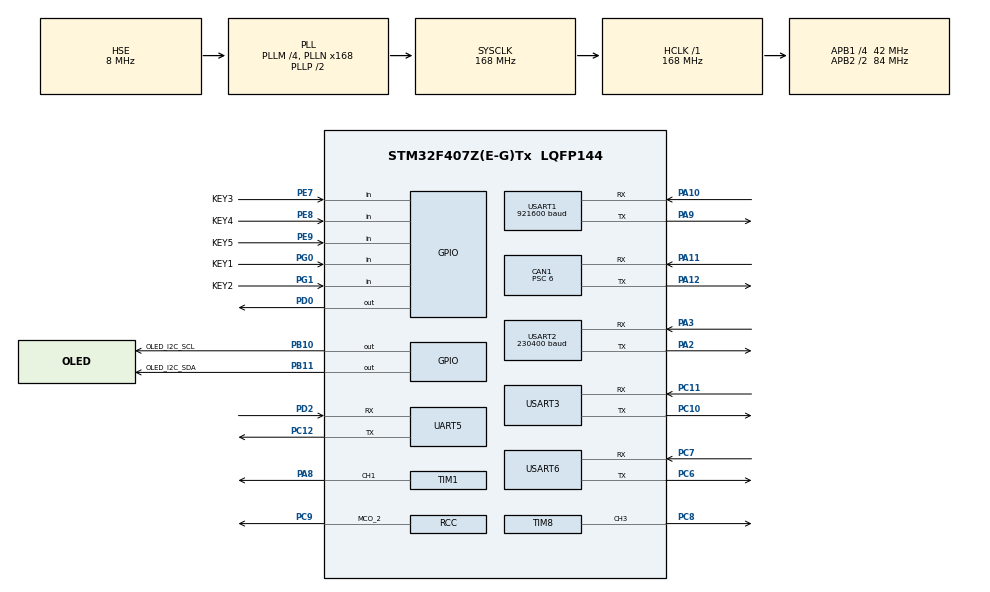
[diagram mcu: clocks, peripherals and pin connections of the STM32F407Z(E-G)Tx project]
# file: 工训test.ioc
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CAN1.BS1=CAN_BS1_3TQ
CAN1.BS2=CAN_BS2_3TQ
CAN1.CalculateBaudRate=1000000
CAN1.CalculateTimeBit=1000
CAN1.CalculateTimeQuantum=142.85714285714286
CAN1.Mode=CAN_MODE_NORMAL
CAN1.NART=ENABLE
CAN1.Prescaler=6
Dma.Request0=USART6_RX
Dma.Request1=USART1_RX
Dma.Request2=USART3_RX
Dma.Request3=USART2_RX
Dma.USART1_RX.1.Direction=DMA_PERIPH_TO_MEMORY
Dma.USART1_RX.1.FIFOMode=DMA_FIFOMODE_DISABLE
Dma.USART1_RX.1.Instance=DMA2_Stream5
Dma.USART1_RX.1.MemDataAlignment=DMA_MDATAALIGN_BYTE
Dma.USART1_RX.1.MemInc=DMA_MINC_ENABLE
Dma.USART1_RX.1.Mode=DMA_NORMAL
Dma.USART1_RX.1.PeriphDataAlignment=DMA_PDATAALIGN_BYTE
Dma.USART1_RX.1.PeriphInc=DMA_PINC_DISABLE
Dma.USART1_RX.1.Priority=DMA_PRIORITY_VERY_HIGH
Dma.USART2_RX.3.Direction=DMA_PERIPH_TO_MEMORY
Dma.USART2_RX.3.FIFOMode=DMA_FIFOMODE_DISABLE
Dma.USART2_RX.3.Instance=DMA1_Stream5
Dma.USART2_RX.3.MemDataAlignment=DMA_MDATAALIGN_BYTE
Dma.USART2_RX.3.MemInc=DMA_MINC_ENABLE
Dma.USART2_RX.3.Mode=DMA_NORMAL
Dma.USART2_RX.3.PeriphDataAlignment=DMA_PDATAALIGN_BYTE
Dma.USART2_RX.3.PeriphInc=DMA_PINC_DISABLE
Dma.USART2_RX.3.Priority=DMA_PRIORITY_HIGH
Dma.USART3_RX.2.Direction=DMA_PERIPH_TO_MEMORY
Dma.USART3_RX.2.FIFOMode=DMA_FIFOMODE_DISABLE
Dma.USART3_RX.2.Instance=DMA1_Stream1
Dma.USART3_RX.2.MemDataAlignment=DMA_MDATAALIGN_BYTE
Dma.USART3_RX.2.MemInc=DMA_MINC_ENABLE
Dma.USART3_RX.2.Mode=DMA_NORMAL
Dma.USART3_RX.2.PeriphDataAlignment=DMA_PDATAALIGN_BYTE
Dma.USART3_RX.2.PeriphInc=DMA_PINC_DISABLE
Dma.USART3_RX.2.Priority=DMA_PRIORITY_MEDIUM
Dma.USART6_RX.0.Direction=DMA_PERIPH_TO_MEMORY
Dma.USART6_RX.0.FIFOMode=DMA_FIFOMODE_DISABLE
Dma.USART6_RX.0.Instance=DMA2_Stream1
Dma.USART6_RX.0.MemDataAlignment=DMA_MDATAALIGN_BYTE
Dma.USART6_RX.0.MemInc=DMA_MINC_ENABLE
Dma.USART6_RX.0.Mode=DMA_NORMAL
Dma.USART6_RX.0.PeriphDataAlignment=DMA_PDATAALIGN_BYTE
Dma.USART6_RX.0.PeriphInc=DMA_PINC_DISABLE
Dma.USART6_RX.0.Priority=DMA_PRIORITY_HIGH
FREERTOS.Queues01=uart1_queue,4,void *,0,Dynamic,NULL,NULL;uart6_queue,4,void *,0,Dynamic,NULL,NULL;uart3_queue,4,void *,0,Dynamic,NULL,NULL
FREERTOS.Tasks01=defaultTask,24,128,StartDefaultTask,Default,NULL,Dynamic,NULL,NULL;CHASSIS_TASK,16,512,Chassis_Task,Default,NULL,Dynamic,NULL,NULL;OUTPU_TASK,8,512,Output_Task,Default,NULL,Dynamic,NULL,NULL;UART_RX_TASK,32,512,UART_RX_Task,Default,NULL,Dynamic,NULL,NULL;MAIN_TASK,24,512,Main_Task,Default,NULL,Dynamic,NULL,NULL;TOWER_TASK,25,512,Tower_Task,Default,NULL,Dynamic,NULL,NULL
Mcu.Family=STM32F4
Mcu.Name=STM32F407Z(E-G)Tx
Mcu.Package=LQFP144
NVIC.CAN1_RX0_IRQn=true\:5\:0\:true\:false\:true\:true\:true\:true\:true
NVIC.DMA1_Stream1_IRQn=true\:5\:0\:false\:false\:true\:true\:false\:true\:true
NVIC.DMA1_Stream5_IRQn=true\:5\:0\:false\:false\:true\:true\:false\:true\:true
NVIC.DMA2_Stream1_IRQn=true\:5\:0\:true\:false\:true\:true\:false\:true\:true
NVIC.DMA2_Stream5_IRQn=true\:5\:0\:true\:false\:true\:true\:false\:true\:true
NVIC.PriorityGroup=NVIC_PRIORITYGROUP_4
NVIC.TIM4_IRQn=true\:15\:0\:false\:false\:true\:false\:false\:true\:true
NVIC.TimeBase=TIM4_IRQn
NVIC.TimeBaseIP=TIM4
NVIC.USART1_IRQn=true\:5\:0\:true\:false\:true\:true\:true\:true\:true
NVIC.USART2_IRQn=true\:5\:0\:false\:false\:true\:true\:true\:true\:true
NVIC.USART3_IRQn=true\:5\:0\:true\:false\:true\:true\:true\:true\:true
NVIC.USART6_IRQn=true\:5\:0\:true\:false\:true\:true\:true\:true\:true
PA10.Mode=Asynchronous
PA10.Signal=USART1_RX
PA11.Mode=CAN_Activate
PA11.Signal=CAN1_RX
PA12.Mode=CAN_Activate
PA12.Signal=CAN1_TX
PA13.Mode=Serial_Wire
PA13.Signal=SYS_JTMS-SWDIO
PA14.Mode=Serial_Wire
PA14.Signal=SYS_JTCK-SWCLK
PA2.Mode=Asynchronous
PA2.Signal=USART2_TX
PA3.Mode=Asynchronous
PA3.Signal=USART2_RX
PA8.Signal=S_TIM1_CH1
PA9.Mode=Asynchronous
PA9.Signal=USART1_TX
PB10.GPIO_Label=OLED_I2C_SCL
PB10.GPIO_ModeDefaultOutputPP=GPIO_MODE_OUTPUT_OD
PB10.GPIO_PuPd=GPIO_PULLUP
PB10.GPIO_Speed=GPIO_SPEED_FREQ_HIGH
PB10.PinState=GPIO_PIN_SET
PB10.Signal=GPIO_Output
PB11.GPIO_Label=OLED_I2C_SDA
PB11.GPIO_ModeDefaultOutputPP=GPIO_MODE_OUTPUT_OD
PB11.GPIO_PuPd=GPIO_PULLUP
PB11.GPIO_Speed=GPIO_SPEED_FREQ_HIGH
PB11.PinState=GPIO_PIN_SET
PB11.Signal=GPIO_Output
PC10.Mode=Asynchronous
PC10.Signal=USART3_TX
PC11.Mode=Asynchronous
PC11.Signal=USART3_RX
PC12.Mode=Asynchronous
PC12.Signal=UART5_TX
PC6.GPIO_Speed=GPIO_SPEED_FREQ_VERY_HIGH
PC6.Mode=Asynchronous
PC6.Signal=USART6_TX
PC7.GPIO_Speed=GPIO_SPEED_FREQ_VERY_HIGH
PC7.Mode=Asynchronous
PC7.Signal=USART6_RX
PC8.Signal=S_TIM8_CH3
PC9.Mode=Clock-out-2
PC9.Signal=RCC_MCO_2
PD0.Signal=GPIO_Output
PD2.Mode=Asynchronous
PD2.Signal=UART5_RX
PE7.GPIO_Label=KEY3
PE7.GPIO_PuPd=GPIO_PULLUP
PE7.Signal=GPIO_Input
PE8.GPIO_Label=KEY4
PE8.GPIO_PuPd=GPIO_PULLUP
PE8.Signal=GPIO_Input
PE9.GPIO_Label=KEY5
PE9.GPIO_PuPd=GPIO_PULLUP
PE9.Signal=GPIO_Input
PG0.GPIO_Label=KEY1
PG0.GPIO_PuPd=GPIO_PULLUP
PG0.Signal=GPIO_Input
PG1.GPIO_Label=KEY2
PG1.GPIO_PuPd=GPIO_PULLUP
PG1.Signal=GPIO_Input
PH0-OSC_IN.Mode=HSE-External-Oscillator
PH0-OSC_IN.Signal=RCC_OSC_IN
PH1-OSC_OUT.Mode=HSE-External-Oscillator
PH1-OSC_OUT.Signal=RCC_OSC_OUT
ProjectManager.HeapSize=0x200
ProjectManager.StackSize=0x400
ProjectManager.TargetToolchain=MDK-ARM V5.32
RCC.48MHZClocksFreq_Value=84000000
RCC.AHBFreq_Value=168000000
RCC.APB1CLKDivider=RCC_HCLK_DIV4
RCC.APB1Freq_Value=42000000
RCC.APB1TimFreq_Value=84000000
RCC.APB2CLKDivider=RCC_HCLK_DIV2
RCC.APB2Freq_Value=84000000
RCC.APB2TimFreq_Value=168000000
RCC.CortexFreq_Value=168000000
RCC.HCLKFreq_Value=168000000
RCC.HSE_VALUE=8000000
RCC.HSI_VALUE=16000000
RCC.LSE_VALUE=32768
RCC.PLLM=4
RCC.PLLN=168
RCC.PLLSourceVirtual=RCC_PLLSOURCE_HSE
RCC.SYSCLKFreq_VALUE=168000000
RCC.SYSCLKSource=RCC_SYSCLKSOURCE_PLLCLK
RCC.VCOOutputFreq_Value=336000000
SH.S_TIM1_CH1.0=TIM1_CH1,PWM Generation1 CH1
SH.S_TIM8_CH3.0=TIM8_CH3,PWM Generation3 CH3
TIM1.Channel-PWM\ Generation1\ CH1=TIM_CHANNEL_1
TIM1.Period=19999
TIM1.Prescaler=167
TIM7.Prescaler=41
TIM8.Channel-PWM\ Generation3\ CH3=TIM_CHANNEL_3
TIM8.Period=19999
TIM8.Prescaler=167
UART5.VirtualMode=Asynchronous
USART1.BaudRate=921600
USART1.VirtualMode=VM_ASYNC
USART2.BaudRate=230400
USART2.VirtualMode=VM_ASYNC
USART3.VirtualMode=VM_ASYNC
USART6.VirtualMode=VM_ASYNC
VP_FREERTOS_VS_CMSIS_V2.Mode=CMSIS_V2
VP_SYS_VS_tim4.Mode=TIM4
VP_TIM1_VS_ClockSourceINT.Mode=Internal
VP_TIM7_VS_ClockSourceINT.Mode=Enable_Timer
VP_TIM8_VS_ClockSourceINT.Mode=Internal
board=custom

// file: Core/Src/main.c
/* USER CODE BEGIN Header */
/**
  ******************************************************************************
  * @file           : main.c
  * @brief          : Main program body
  ******************************************************************************
  * @attention
  *
  * Copyright (c) 2026 STMicroelectronics.
  * All rights reserved.
  *
  * This software is licensed under terms that can be found in the LICENSE file
  * in the root directory of this software component.
  * If no LICENSE file comes with this software, it is provided AS-IS.
  * 每次使用cubemx重新生成后需要在Init scheduler处添加__set_PRIMASK(primask); ！！！
  ******************************************************************************
  */
/* USER CODE END Header */
#include "main.h"
#include "cmsis_os.h"
#include "can.h"
#include "dma.h"
#include "tim.h"
#include "usart.h"
#include "gpio.h"

/* USER CODE BEGIN Includes */
#include "sys.h"
#include "delay.h"
/* USER CODE END Includes */

/* USER CODE BEGIN PV */
/* 先定义好存放数据的空间，队列大小是5，这里就定义5个。 */
UART3_RX_TypeDef uart3_rx_data_t[UART_BUFFER_QUANTITY ];
UART6_RX_TypeDef uart6_rx_data_t[UART_BUFFER_QUANTITY ];
UART1_RX_TypeDef uart1_rx_data_t[UART_BUFFER_QUANTITY ];
/* 定义一个变量用作分配上面定义的数据 */
uint8_t uart3_buff_ctrl = 0;
uint8_t uart6_buff_ctrl = 0;
uint8_t uart1_buff_ctrl = 0;
/* 引用串口DMA handle  */
extern DMA_HandleTypeDef hdma_usart3_rx;
extern DMA_HandleTypeDef hdma_usart6_rx;
extern DMA_HandleTypeDef hdma_usart1_rx;
/* 队列 handle。去freertos.c文件里面找CubeMX给你创建好的。 */
extern osMessageQId uart3_queueHandle;
extern osMessageQId uart6_queueHandle ;
extern osMessageQId uart1_queueHandle;
/* USER CODE END PV */

void SystemClock_Config(void);
void MX_FREERTOS_Init(void);

/* USER CODE BEGIN 0 */
void USART3_DMAHandler(void)
{
	if(RESET !=__HAL_UART_GET_FLAG(&huart3,UART_FLAG_IDLE))//判断是否空闲中断
	{
		UART3_RX_TypeDef *pUart3Data;/* 定义指向创建串口数据的指针 */

		__HAL_UART_CLEAR_IDLEFLAG(&huart3);// 清除空闲中断标志
		HAL_UART_DMAStop(&huart3);         // 停止本次DMA传输

		/*计算接收到的数据长度，放进串口数据结构体中*/
		uart3_rx_data_t[uart3_buff_ctrl].size=UART3_BUFFER_SIZE -__HAL_DMA_GET_COUNTER (&hdma_usart3_rx);
		/* 将这个串口数据的结构体地址给指针*/
		pUart3Data = &uart3_rx_data_t[uart3_buff_ctrl];
		/* 把指向串口接收数据的指针放入消息队列。注意，这里传的是指针的地址，也就是指针串口数据结构体的指针的地址不能传pUartData本身 */
        xQueueSendFromISR(uart3_queueHandle, &pUart3Data, NULL);
		/* 这里进行加一，使其下一次DMA传输时将接收的数据放到下一个串口缓冲区中*/
        uart3_buff_ctrl++;
        /* 取余操作防止越界*/
        uart3_buff_ctrl %= UART_BUFFER_QUANTITY;
        /* 重启开始DMA传输 */
        HAL_UART_Receive_DMA(&huart3, uart3_rx_data_t[uart3_buff_ctrl].buffer, UART3_BUFFER_SIZE);
	}
}

void USART6_DMAHandler(void)
{
	if(RESET !=__HAL_UART_GET_FLAG(&huart6,UART_FLAG_IDLE))//判断是否空闲中断
	{
		UART6_RX_TypeDef *pUart6Data;/* 定义指向创建串口数据的指针 */

		__HAL_UART_CLEAR_IDLEFLAG(&huart6);// 清除空闲中断标志
		HAL_UART_DMAStop(&huart6);         // 停止本次DMA传输

		/*计算接收到的数据长度，放进串口数据结构体中*/
		uart6_rx_data_t[uart6_buff_ctrl].size=UART6_BUFFER_SIZE -__HAL_DMA_GET_COUNTER (&hdma_usart6_rx);
		/* 将这个串口数据的结构体地址给指针*/
		pUart6Data = &uart6_rx_data_t[uart6_buff_ctrl];
		/* 把指向串口接收数据的指针放入消息队列。注意，这里传的是指针的地址，也就是指针串口数据结构体的指针的地址不能传pUartData本身 */
        xQueueSendFromISR(uart6_queueHandle, &pUart6Data, NULL);
		/* 这里进行加一，使其下一次DMA传输时将接收的数据放到下一个串口缓冲区中*/
        uart6_buff_ctrl++;
        /* 取余操作防止越界*/
        uart6_buff_ctrl %= UART_BUFFER_QUANTITY;
        /* 重启开始DMA传输 */
        HAL_UART_Receive_DMA(&huart6, uart6_rx_data_t[uart6_buff_ctrl].buffer, UART6_BUFFER_SIZE);
	}
}

void USART1_DMAHandler(void)
{
	if(RESET !=__HAL_UART_GET_FLAG(&huart1,UART_FLAG_IDLE))// 判断是否是空闲中断
	{
		UART1_RX_TypeDef *pUart1Data;/* 定义指向创建串口数据的指针 */

		__HAL_UART_CLEAR_IDLEFLAG(&huart1);// 清除空闲中断标志
		HAL_UART_DMAStop(&huart1);         // 停止本次DMA传输

		/*计算接收到的数据长度，放进串口数据结构体中*/
		uart1_rx_data_t[uart1_buff_ctrl].size=UART1_BUFFER_SIZE -__HAL_DMA_GET_COUNTER (&hdma_usart1_rx);
		/* 将这个串口数据的结构体地址给指针 */
		pUart1Data = &uart1_rx_data_t[uart1_buff_ctrl];
		/* 把指向串口接收数据的指针放入消息队列。注意，这里传的是指针的地址，也就是指针串口数据结构体的指针的地址不能传pUartData本身 */
        xQueueSendFromISR(uart1_queueHandle, &pUart1Data, NULL);
		/* 这里进行加一，使其下一次DMA传输时将接收的数据放到下一个串口缓冲区中 */
        uart1_buff_ctrl++;
        /* 取余操作防止越界 */
        uart1_buff_ctrl %= UART_BUFFER_QUANTITY;
        /* 重启开始DMA传输 */
        HAL_UART_Receive_DMA(&huart1, uart1_rx_data_t[uart1_buff_ctrl].buffer, UART1_BUFFER_SIZE);
	}
}
/* USER CODE END 0 */

int main(void)
{

  /* USER CODE BEGIN 1 */
//  uint8_t KeyNum=0;
//  uint32_t Std_ID=0x100;
//  uint8_t Test_Data[]={0X11,0X22,0X33,0X44,0X55,0X66,0X77,0x88};
  /* USER CODE END 1 */

  /* MCU Configuration--------------------------------------------------------*/

  /* Reset of all peripherals, Initializes the Flash interface and the Systick. */
  HAL_Init();

  /* Configure the system clock */
  SystemClock_Config();

  /* Initialize all configured peripherals */
  MX_GPIO_Init();
  MX_DMA_Init();
  MX_USART6_UART_Init();
  MX_USART1_UART_Init();
  MX_CAN1_Init();
  MX_UART5_Init();
  MX_USART3_UART_Init();
  MX_TIM7_Init();
  MX_TIM8_Init();
  MX_TIM1_Init();
  MX_USART2_UART_Init();
  /* USER CODE BEGIN 2 */
  __HAL_UART_ENABLE_IT(&huart1, UART_IT_IDLE);    //使能串口中断
  HAL_UART_Receive_DMA(&huart1, uart1_rx_data_t[uart1_buff_ctrl].buffer, UART1_BUFFER_SIZE );    //使能串口DMA
  __HAL_UART_ENABLE_IT(&huart3, UART_IT_IDLE);    //使能串口中断
  HAL_UART_Receive_DMA(&huart3, uart3_rx_data_t[uart3_buff_ctrl].buffer, UART3_BUFFER_SIZE );    //使能串口DMA

  HAL_Delay(100);
  sys_Init();
  /* USER CODE END 2 */

  /* Init scheduler */
  osKernelInitialize();  /* Call init function for freertos objects (in cmsis_os2.c) */
  MX_FREERTOS_Init();

  /* Start scheduler */
  osKernelStart();

  /* We should never get here as control is now taken by the scheduler */

  /* Infinite loop */
  while (1)
  {

  }
}

void SystemClock_Config(void)
{
  RCC_OscInitTypeDef RCC_OscInitStruct = {0};
  RCC_ClkInitTypeDef RCC_ClkInitStruct = {0};

  /** Configure the main internal regulator output voltage
  */
  __HAL_RCC_PWR_CLK_ENABLE();
  __HAL_PWR_VOLTAGESCALING_CONFIG(PWR_REGULATOR_VOLTAGE_SCALE1);

  /** Initializes the RCC Oscillators according to the specified parameters
  * in the RCC_OscInitTypeDef structure.
  */
  RCC_OscInitStruct.OscillatorType = RCC_OSCILLATORTYPE_HSE;
  RCC_OscInitStruct.HSEState = RCC_HSE_ON;
  RCC_OscInitStruct.PLL.PLLState = RCC_PLL_ON;
  RCC_OscInitStruct.PLL.PLLSource = RCC_PLLSOURCE_HSE;
  RCC_OscInitStruct.PLL.PLLM = 4;
  RCC_OscInitStruct.PLL.PLLN = 168;
  RCC_OscInitStruct.PLL.PLLP = RCC_PLLP_DIV2;
  RCC_OscInitStruct.PLL.PLLQ = 4;
  if (HAL_RCC_OscConfig(&RCC_OscInitStruct) != HAL_OK)
  {
    Error_Handler();
  }

  /** Initializes the CPU, AHB and APB buses clocks
  */
  RCC_ClkInitStruct.ClockType = RCC_CLOCKTYPE_HCLK|RCC_CLOCKTYPE_SYSCLK
                              |RCC_CLOCKTYPE_PCLK1|RCC_CLOCKTYPE_PCLK2;
  RCC_ClkInitStruct.SYSCLKSource = RCC_SYSCLKSOURCE_PLLCLK;
  RCC_ClkInitStruct.AHBCLKDivider = RCC_SYSCLK_DIV1;
  RCC_ClkInitStruct.APB1CLKDivider = RCC_HCLK_DIV4;
  RCC_ClkInitStruct.APB2CLKDivider = RCC_HCLK_DIV2;

  if (HAL_RCC_ClockConfig(&RCC_ClkInitStruct, FLASH_LATENCY_5) != HAL_OK)
  {
    Error_Handler();
  }
  HAL_RCC_MCOConfig(RCC_MCO2, RCC_MCO2SOURCE_SYSCLK, RCC_MCODIV_1);
}

/* USER CODE BEGIN 4 */
void HAL_CAN_RxFifo0MsgPendingCallback(CAN_HandleTypeDef *hcan)
{
	/* CAN1 接收中断 */
    if(hcan->Instance == CAN1)
    {
        CAN_RxHeaderTypeDef   Rx_Header;
        uint8_t data[8];
        if (HAL_CAN_GetRxMessage(&hcan1, CAN_RX_FIFO0,&Rx_Header, data) == HAL_OK)
        {
            Response_Handle(Rx_Header.ExtId,Rx_Header.StdId, data);
        }
    }
}
/* USER CODE END 4 */

void HAL_TIM_PeriodElapsedCallback(TIM_HandleTypeDef *htim)
{
  if (htim->Instance == TIM4)
  {
    HAL_IncTick();
  }
}

void Error_Handler(void)
{
  __disable_irq();
  while (1)
  {
  }
}
